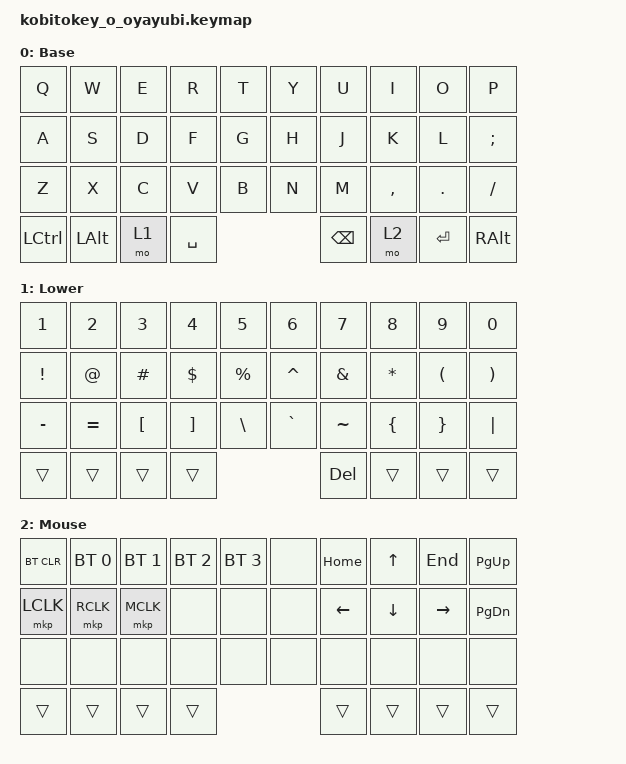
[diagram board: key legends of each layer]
#include <behaviors.dtsi>
#include <dt-bindings/zmk/keys.h>
#include <dt-bindings/zmk/bt.h>
#include <dt-bindings/zmk/pointing.h>

/ {
    keymap {
        compatible = "zmk,keymap";

        default_layer {
            display-name = "Base";
            bindings = <
&kp Q      &kp W      &kp E       &kp R      &kp T           &kp Y      &kp U      &kp I       &kp O      &kp P
&kp A      &kp S      &kp D       &kp F      &kp G           &kp H      &kp J      &kp K       &kp L      &kp SEMI
&kp Z      &kp X      &kp C       &kp V      &kp B           &kp N      &kp M      &kp COMMA   &kp DOT    &kp FSLH
&kp LCTRL  &kp LALT   &mo 1       &kp SPACE                             &kp BSPC   &mo 2       &kp ENTER  &kp RALT
            >;
        };

        lower_layer {
            display-name = "Lower";
            bindings = <
&kp N1     &kp N2     &kp N3      &kp N4     &kp N5          &kp N6     &kp N7     &kp N8      &kp N9     &kp N0
&kp EXCL   &kp AT     &kp HASH    &kp DLLR   &kp PRCNT       &kp CARET  &kp AMPS   &kp ASTRK   &kp LPAR   &kp RPAR
&kp MINUS  &kp EQUAL  &kp LBKT    &kp RBKT   &kp BSLH        &kp GRAVE  &kp TILDE  &kp LBRC    &kp RBRC   &kp PIPE
&trans     &trans     &trans      &trans                                &kp DEL    &trans      &trans     &trans
            >;
        };

        mouse_layer {
            display-name = "Mouse";
            bindings = <
&bt BT_CLR &bt BT_SEL 0 &bt BT_SEL 1 &bt BT_SEL 2 &bt BT_SEL 3   &none      &kp HOME   &kp UP      &kp END    &kp PG_UP
&mkp LCLK  &mkp RCLK    &mkp MCLK    &none        &none          &none      &kp LEFT   &kp DOWN    &kp RIGHT  &kp PG_DN
&none      &none        &none        &none        &none          &none      &none      &none       &none      &none
&trans     &trans       &trans       &trans                                 &trans     &trans      &trans     &trans
            >;
        };
    };
};
